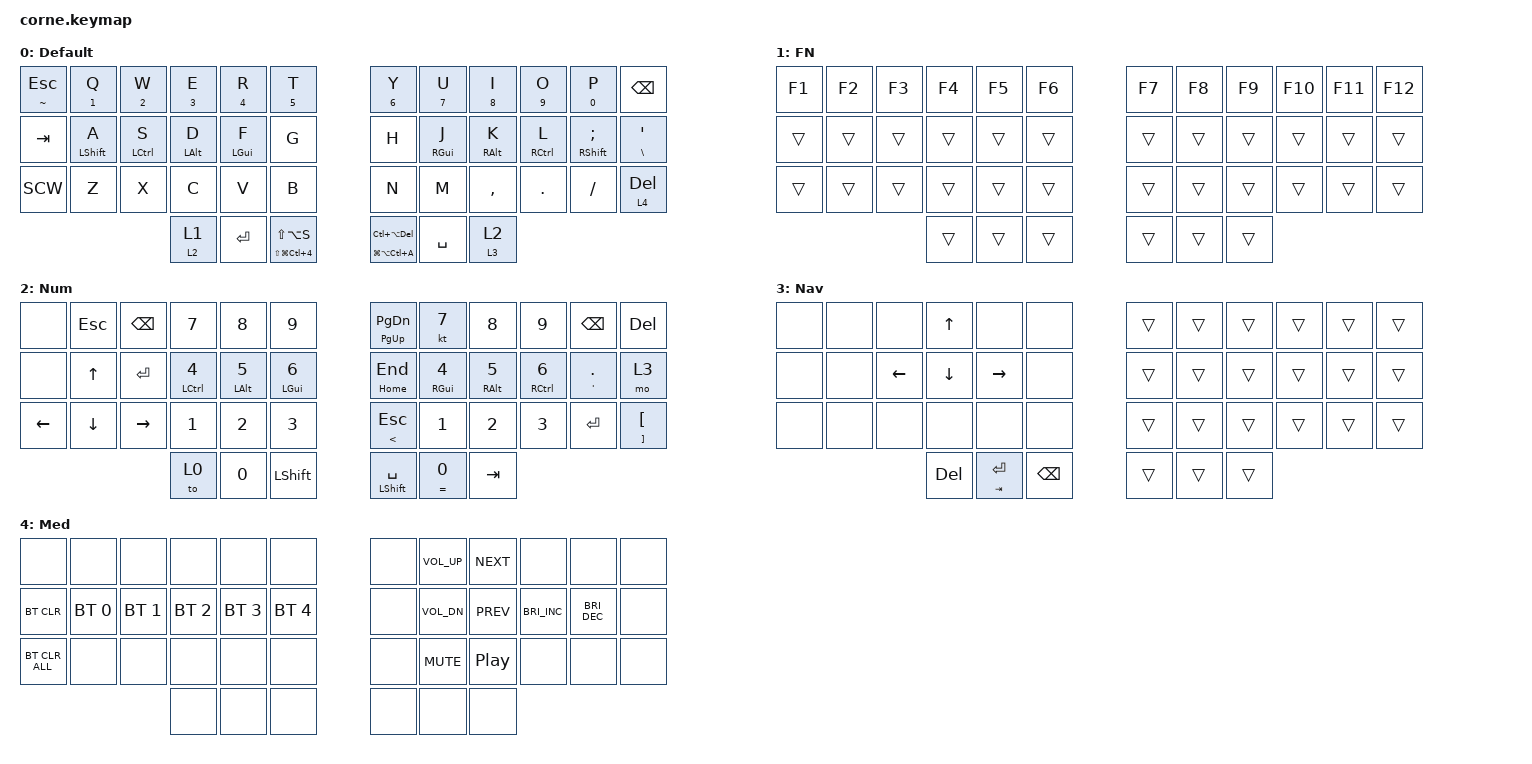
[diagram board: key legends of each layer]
/*
 * Copyright (c) 2020 The ZMK Contributors
 *
 * SPDX-License-Identifier: MIT
 */

#include <dt-bindings/zmk/mouse.h>
#include <behaviors.dtsi>
#include <dt-bindings/zmk/bt.h>
#include <dt-bindings/zmk/keys.h>

/ {
    behaviors {
        HMR: HMR {
            compatible = "zmk,behavior-hold-tap";
            label = "HMR";
            bindings = <&kp>, <&kp>;

            #binding-cells = <2>;
            tapping-term-ms = <280>;
            quick-tap-ms = <175>;
            flavor = "balanced";
            hold-trigger-on-release;
        };

        SCW: SCW {
            compatible = "zmk,behavior-tap-dance";
            label = "SCW";
            #binding-cells = <0>;
            bindings = <&sk LEFT_SHIFT>, <&caps_word>, <&kp CAPSLOCK>;
        };

        SML: SML {
            compatible = "zmk,behavior-hold-tap";
            label = "SML";
            bindings = <&mo>, <&sl>;

            #binding-cells = <2>;
            tapping-term-ms = <280>;
            quick-tap-ms = <175>;
            hold-trigger-on-release;
            flavor = "balanced";
        };

        TML: TML {
            compatible = "zmk,behavior-hold-tap";
            label = "TML";
            bindings = <&mo>, <&to>;

            #binding-cells = <2>;
            tapping-term-ms = <280>;
            quick-tap-ms = <175>;
            flavor = "balanced";
            hold-trigger-on-release;
        };

        PHTL: PHTL {
            compatible = "zmk,behavior-hold-tap";
            label = "PHTL";
            bindings = <&to>, <&kp>;

            #binding-cells = <2>;
            tapping-term-ms = <280>;
            quick-tap-ms = <175>;
            flavor = "balanced";
            hold-trigger-on-release;
        };
    };

    combos {
        compatible = "zmk,combos";

        Reset {
            bindings = <&sys_reset>;
            key-positions = <5 0 37 40 6 11>;
            layers = <4>;
        };

        B2B {
            bindings = <&to 0>;
            key-positions = <38 39>;
            layers = <4>;
        };
    };

    keymap {
        compatible = "zmk,keymap";

        Base {
            display-name = "Default";

            // -----------------------------------------------------------------------------------------
            // |  TAB |  Q  |  W  |  E  |  R  |  T  |   |  Y  |  U   |  I  |  O  |  P  | BKSP |
            // | CTRL |  A  |  S  |  D  |  F  |  G  |   |  H  |  J   |  K  |  L  |  ;  |  '   |
            // | SHFT |  Z  |  X  |  C  |  V  |  B  |   |  N  |  M   |  ,  |  .  |  /  | ESC  |
            //                    | GUI | LWR | SPC |   | ENT | RSE  | ALT |

            bindings = <
&HMR TILDE ESC  &HMR NUMBER_1 Q  &HMR NUMBER_2 W  &HMR NUMBER_3 E  &HMR NUMBER_4 R  &HMR N5 T                              &HMR NUMBER_6 Y                    &HMR N7 U    &HMR N8 I    &HMR N9 O     &HMR N0 P             &kp BSPC
&kp TAB         &HMR LSHFT A     &HMR LCTRL S     &HMR LALT D      &HMR LGUI F      &kp G                                  &kp H                              &HMR RGUI J  &HMR RALT K  &HMR RCTRL L  &HMR RSHFT SEMICOLON  &HMR BACKSLASH SQT
&SCW            &kp Z            &kp X            &kp C            &kp V            &kp B                                  &kp N                              &kp M        &kp COMMA    &kp DOT       &kp FSLH              &PHTL 4 DELETE
                                                  &SML 2 1         &kp ENTER        &HMR LS(LG(LC(NUMBER_4))) LS(LA(S))    &HMR LG(LA(LC(A))) LC(LA(DELETE))  &kp SPACE    &TML 3 2
            >;
        };

        Function {
            bindings = <
&kp F1  &kp F2  &kp F3  &kp F4  &kp F5  &kp F6    &kp F7  &kp F8  &kp F9  &kp F10  &kp F11  &kp F12
&trans  &trans  &trans  &trans  &trans  &trans    &trans  &trans  &trans  &trans   &trans   &trans
&trans  &trans  &trans  &trans  &trans  &trans    &trans  &trans  &trans  &trans   &trans   &trans
                        &trans  &trans  &trans    &trans  &trans  &trans
            >;

            label = "FN";
        };

        Num_Pad {
            display-name = "Num";

            // -----------------------------------------------------------------------------------------
            // |  TAB |  1  |  2  |  3  |  4  |  5  |   |  6  |  7  |  8  |  9  |  0  | BKSP |
            // | BTCLR| BT1 | BT2 | BT3 | BT4 | BT5 |   | LFT | DWN |  UP | RGT |     |      |
            // | SHFT |     |     |     |     |     |   |     |     |     |     |     |      |
            //                    | GUI |     | SPC |   | ENT |     | ALT |

            bindings = <
&none     &kp ESCAPE    &kp BACKSPACE  &kp N7               &kp N8        &kp N9                &mt PG_UP PAGE_DOWN   &kt N7              &kp N8             &kp NUMBER_9         &kp BACKSPACE    &kp DELETE
&none     &kp UP_ARROW  &kp ENTER      &HMR LCTRL NUMBER_4  &HMR LALT N5  &HMR LGUI NUMBER_6    &mt HOME END          &HMR RGUI NUMBER_4  &HMR RIGHT_ALT N5  &HMR RCTRL NUMBER_6  &mt APOS PERIOD  &mo 3
&kp LEFT  &kp DOWN      &kp RIGHT      &kp NUMBER_1         &kp NUMBER_2  &kp NUMBER_3          &mt LESS_THAN ESCAPE  &kp NUMBER_1        &kp NUMBER_2       &kp NUMBER_3         &kp ENTER        &mt RIGHT_BRACKET LEFT_BRACKET
                                       &to 0                &kp N0        &kp LEFT_SHIFT        &mt LEFT_SHIFT SPACE  &HMR EQUAL N0       &kp TAB
            >;
        };

        Navigation {
            display-name = "Nav";

            // -----------------------------------------------------------------------------------------
            // |  TAB |  !  |  @  |  #  |  $  |  %  |   |  ^  |  &  |  *  |  (  |  )  | BKSP |
            // | CTRL |     |     |     |     |     |   |  -  |  =  |  [  |  ]  |  \  |  `   |
            // | SHFT |     |     |     |     |     |   |  _  |  +  |  {  |  }  | "|" |  ~   |
            //                    | GUI |     | SPC |   | ENT |     | ALT |

            bindings = <
&none  &none  &none     &kp UP      &none          &none            &trans  &trans  &trans  &trans  &trans  &trans
&none  &none  &kp LEFT  &kp DOWN    &kp RIGHT      &none            &trans  &trans  &trans  &trans  &trans  &trans
&none  &none  &none     &none       &none          &none            &trans  &trans  &trans  &trans  &trans  &trans
                        &kp DELETE  &mt TAB ENTER  &kp BACKSPACE    &trans  &trans  &trans
            >;
        };

        Media {
            bindings = <
&none           &none         &none         &none         &none         &none           &none  &kp C_VOL_UP  &kp C_NEXT  &none                 &none                 &none
&bt BT_CLR      &bt BT_SEL 0  &bt BT_SEL 1  &bt BT_SEL 2  &bt BT_SEL 3  &bt BT_SEL 4    &none  &kp C_VOL_DN  &kp C_PREV  &kp C_BRIGHTNESS_INC  &kp C_BRIGHTNESS_DEC  &none
&bt BT_CLR_ALL  &none         &none         &none         &none         &none           &none  &kp C_MUTE    &kp C_PP    &none                 &none                 &none
                                            &none         &none         &none           &none  &none         &none
            >;

            label = "Med";
        };
    };
};
